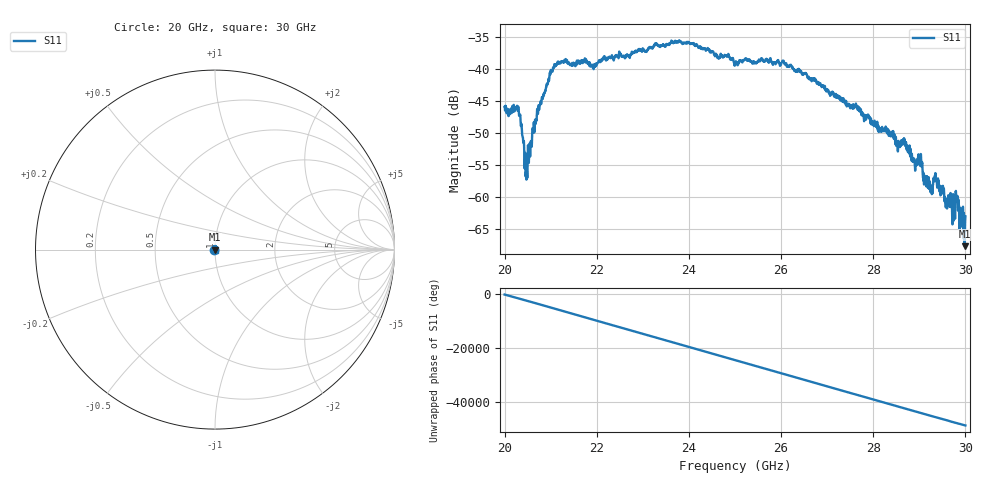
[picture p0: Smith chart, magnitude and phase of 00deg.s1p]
#  HZ  S  RI  R  50.00
! Rohde & Schwarz ZVA40 4Ports - Version 3.90 - 1145.1110k42 SN: 100403
! Date: 2023-10-03 11:33:41
! Measurement: S12
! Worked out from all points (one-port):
!   5001 points, 20 GHz to 30 GHz, reference 50 ohm
!   lowest |S11| = -67.7 dB at 29.98 GHz (marker M1), VSWR 1.00, Z = 50 - j0.00399 ohm
!   |S11| at or under -10 dB: start of sweep to end of sweep
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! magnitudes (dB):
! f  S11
! 20 GHz  -45.9
! 20.29 GHz  -46.0
! 20.37 GHz  -49.6
! 20.45 GHz  -53.7
! 20.48 GHz  -56.3
! 20.7 GHz  -46.8
! 20.98 GHz  -40.7
! 21.11 GHz  -39.3
! 21.25 GHz  -38.8
! 21.75 GHz  -38.8
! 21.92 GHz  -39.4
! 22.5 GHz  -37.6
! 23.75 GHz  -35.8
! 25 GHz  -39.4
! 25.72 GHz  -38.9
! 26.25 GHz  -39.7
! 27.5 GHz  -46.1
! 28.75 GHz  -52.9
! 28.89 GHz  -54.2
! 29.02 GHz  -55.1
! 29.14 GHz  -57.1
! 29.26 GHz  -58.3
! 29.37 GHz  -57.4
! 29.73 GHz  -59.5
! 29.81 GHz  -60.2
! 29.91 GHz  -62.9
! 29.98 GHz  -67.7
! 30 GHz  -63.0
